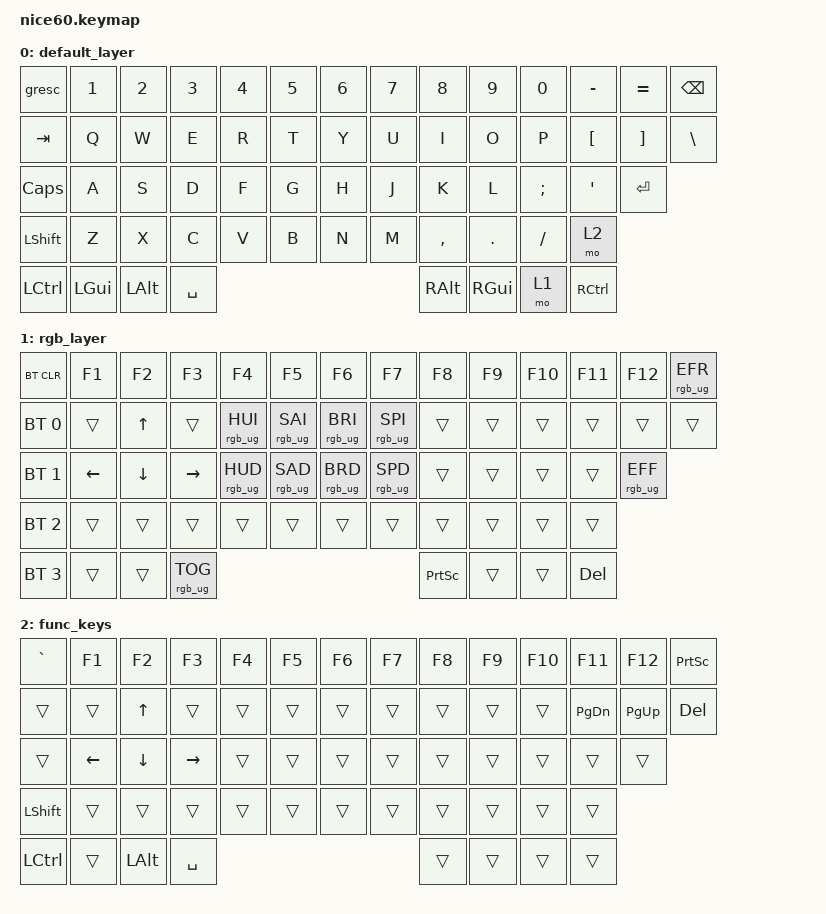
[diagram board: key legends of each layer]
/*
 * Copyright (c) 2021 Nick Winans
 *
 * SPDX-License-Identifier: MIT
 */

#include <behaviors.dtsi>
#include <dt-bindings/zmk/keys.h>

#include <dt-bindings/zmk/rgb.h>
#include <dt-bindings/zmk/bt.h>
#include <dt-bindings/zmk/outputs.h>
#include <dt-bindings/zmk/reset.h>
#include <dt-bindings/zmk/ext_power.h>

/ {
	keymap {
		compatible = "zmk,keymap";
		
		default_layer {
// ------------------------------------------------------------------------------------------
// | ESC |  1  |  2  |  3  |  4  |  5  |  6  |  7  |  8  |  9  |  0  |  -  |  =  |   BKSP   |
// | TAB  |  Q  |  W  |  E  |  R  |  T  |  Y  |  U  |  I  |  O  |  P  |  [  |  ]  |   "|"   |
// | CAPS  |  A  |  S  |  D  |  F  |  G  |  H  |  J  |  K  |  L  |  ;  |  '  |     ENTER    |
// |  SHIFT  |  Z  |  X  |  C  |  V  |  B  |  N  |  M  |  ,  |  .  |  /  |      MO(2)       |
// |  CTL  |  WIN  |  ALT  |            SPACE              |  ALT  |  WIN  |  MO(1) |  CTL  |
// ------------------------------------------------------------------------------------------
			bindings = <
	&gresc  &kp N1 &kp N2 &kp N3 &kp N4 &kp N5 &kp N6 &kp N7 &kp N8 &kp N9 &kp N0 &kp MINUS &kp EQUAL  &kp BSPC
	&kp TAB  &kp Q  &kp W  &kp E  &kp R  &kp T  &kp Y  &kp U  &kp I  &kp O  &kp P  &kp LBKT  &kp RBKT  &kp BSLH
	&kp CLCK  &kp A  &kp S  &kp D  &kp F  &kp G  &kp H  &kp J  &kp K  &kp L  &kp SEMI &kp SQT           &kp RET
	&kp LSHFT   &kp Z  &kp X  &kp C  &kp V  &kp B  &kp N  &kp M  &kp COMMA &kp DOT &kp FSLH           &mo 2
	&kp LCTRL &kp LGUI &kp LALT             &kp SPACE                     &kp RALT  &kp RGUI  &mo 1   &kp RCTRL
			>;
		};

		rgb_layer {
// ------------------------------------------------------------------------------------------------
// | BT CLR | F1  | F2  | F3  | F4  | F5  | F6  | F7  | F8  | F9  | F10  | F11 | F12 | EFFECT REV |
// |  BT 1   |   |  UP |   | HUEUP | SATUP | BRIUP | SPDUP |   |     |    |     |     |           |
// |   BT 2   | LT |  DN  | RT | HUEDN | SATDN | BRIDN | SPDDN |   |     |   |     |  EFFECT FORW |
// |    BT 3     |     |      |      |     |     |     |     |     |     |     |                  |
// |   BT 4  |      |      |             TOG RGB                | PRT SCR |       |       |  DEL  |
// ------------------------------------------------------------------------------------------------
			bindings = <
	&bt BT_CLR   &kp F1    &kp F2    &kp F3  &kp F4           &kp F5          &kp F6          &kp F7          &kp F8   &kp F9   &kp F10  &kp F11 &kp F12  &rgb_ug RGB_EFR
	&bt BT_SEL 0  &trans    &kp UP    &trans  &rgb_ug RGB_HUI  &rgb_ug RGB_SAI &rgb_ug RGB_BRI &rgb_ug RGB_SPI  &trans   &trans   &trans   &trans  &trans          &trans 
	&bt BT_SEL 1   &kp LEFT  &kp DOWN  &kp RIGHT &rgb_ug RGB_HUD &rgb_ug RGB_SAD &rgb_ug RGB_BRD &rgb_ug RGB_SPD &trans   &trans   &trans   &trans        &rgb_ug RGB_EFF
	&bt BT_SEL 2    &trans    &trans    &trans   &trans          &trans          &trans          &trans          &trans   &trans   &trans                          &trans
	&bt BT_SEL 3  &trans   &trans                            &rgb_ug RGB_TOG                                      &kp PSCRN      &trans      &trans               &kp DEL
			>;
		};
		
		func_keys {
// ------------------------------------------------------------------------------------------------
// | ` | F1  | F2  | F3  | F4  | F5  | F6  | F7  | F8  | F9  | F10  | F11 | F12 | PRT SCR         |
// |      |     |  UP  |    |   |   |     |     |    |      |    | PGDN | PGUP |    DEL           |
// |          | LT |  DN  | RT |      |    |         |        |    |     |   |     |              |
// |    SHIFT    |     |      |      |     |     |     |     |     |     |      |                 |
// |   CTL  |      | ALT |             SPACE                  |         |       |       |         |
// ------------------------------------------------------------------------------------------------
		bindings = <
	&kp GRAVE  &kp F1   &kp F2   &kp F3    &kp F4   &kp F5   &kp F6   &kp F7    &kp F8   &kp F9   &kp F10  &kp F11    &kp F12    &kp PSCRN
	&trans     &trans   &kp UP   &trans    &trans   &trans   &trans   &trans    &trans   &trans   &trans   &kp PG_DN  &kp PG_UP  &kp DEL
	&trans     &kp LEFT &kp DOWN &kp RIGHT &trans   &trans   &trans   &trans    &trans   &trans   &trans   &trans     &trans
	&kp LSHFT  &trans   &trans   &trans    &trans   &trans   &trans   &trans    &trans   &trans   &trans   &trans
	&kp LCTRL  &trans   &kp LALT             &kp SPACE                          &trans   &trans   &trans   &trans
			>;
		};
	};
};
